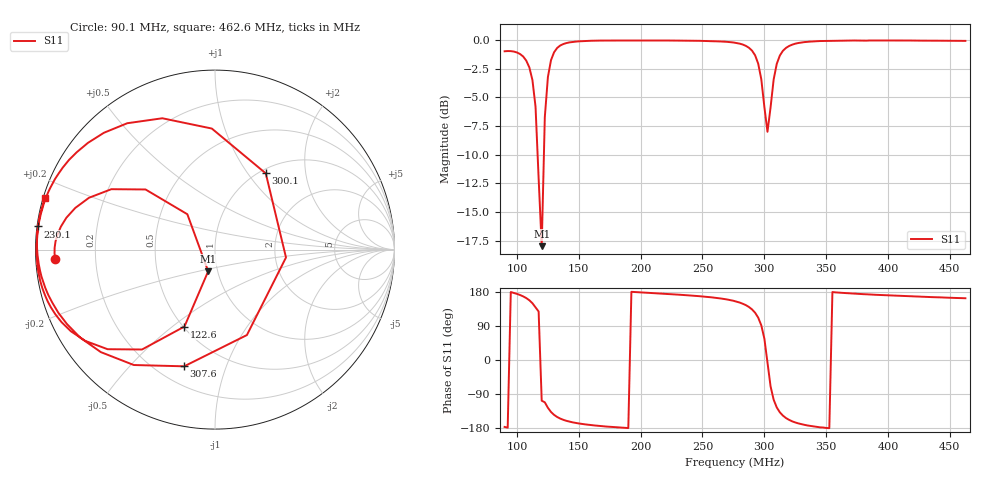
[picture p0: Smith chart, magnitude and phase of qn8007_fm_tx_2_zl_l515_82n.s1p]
# MHz S MA R 50
!  freq  S11
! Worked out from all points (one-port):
!   150 points, 90.1 MHz to 462.6 MHz, reference 50 ohm
!   lowest |S11| = -18.0 dB at 120.1 MHz (marker M1), VSWR 1.29, Z = 45.1 - j11.1 ohm
!   |S11| at or under -10 dB: 116.8 MHz to 121.9 MHz (5.089 MHz wide, 4.26 % of centre)
!   S11 on the Smith chart (normalised r, x): 90.1 MHz: 0.06, -0.03; 122.6 MHz: 0.51, -0.55; 230.1 MHz: 0.00, +0.07; 300.1 MHz: 1.06, +1.22; 307.6 MHz: 0.30, -0.72; 462.6 MHz: 0.01, +0.15
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90.1  0.8922 -176.6
105.1  0.8468 167.9
112.6  0.6684 149.8
115.1  0.5119 139.1
117.6  0.2501 128.0
120.1  0.1265 -107.4
122.6  0.4612 -111.7
125.1  0.6891 -126.1
130.1  0.8835 -144.8
137.6  0.9595 -157.9
155.1  0.9893 -169.8
185.1  0.9939 -178.5
230.1  0.9931 172.5
277.6  0.969 154.1
290.1  0.8982 133.6
295.1  0.7884 111.8
297.6  0.6746 91.5
300.1  0.5103 56.3
302.6  0.398 -6.3
305.1  0.5082 -69.5
307.6  0.6726 -104.8
310.1  0.7863 -125.1
315.1  0.8967 -146.8
325.1  0.9629 -164.8
345.1  0.9886 -177.7
370.1  0.9936 175.7
417.6  0.9938 168.3
462.6  0.9902 163.0
